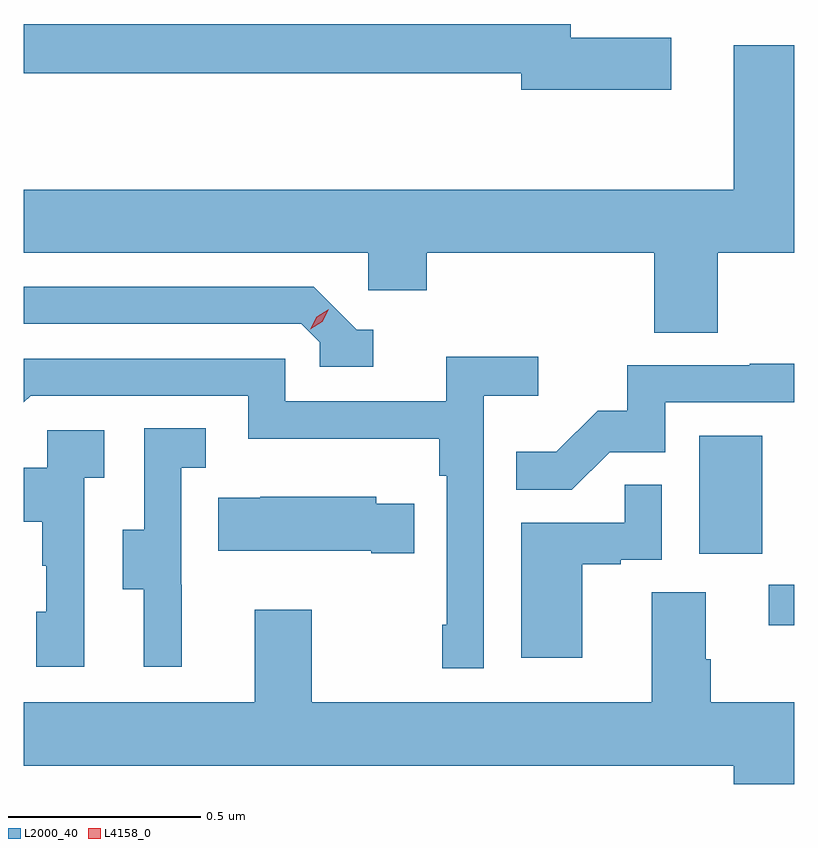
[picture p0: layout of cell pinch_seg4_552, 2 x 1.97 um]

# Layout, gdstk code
import gdstk
lib = gdstk.Library(unit=1e-6, precision=1e-09)
def R(c, l, rs):  # rectangles x0, y0, x1, y1
    for r in rs: c.add(gdstk.rectangle(r[:2], r[2:], *l))
def P(c, l, *ps):  # polygons
    for p in ps: c.add(gdstk.Polygon(p, *l))
L2000_40 = (2000, 40)
L4158_0 = (4158, 0)

pinch_seg4_552 = lib.new_cell('pinch_seg4_552')
R(pinch_seg4_552, L2000_40, [(1142.121,787.86,1142.186,787.965), (1141.94,788.046,1142.104,788.353)])
P(pinch_seg4_552, L2000_40, [(1141.867,789.386),(1141.606,789.386),(1141.606,789.422),(1140.186,789.422),(1140.186,789.294),(1141.478,789.294),(1141.478,789.251),(1141.867,789.251)],
  [(1141.988,788.828),(1142.186,788.828),(1142.186,789.367),(1142.03,789.367),(1142.03,788.992),(1140.186,788.992),(1140.186,788.828),(1141.08,788.828),(1141.08,788.73),(1141.232,788.73),(1141.232,788.828),(1141.823,788.828),(1141.823,788.62),(1141.988,788.62)],
  [(1141.093,788.628),(1141.05,788.628),(1140.939,788.739),(1140.186,788.739),(1140.186,788.643),(1140.906,788.643),(1140.954,788.595),(1140.954,788.532),(1141.093,788.532)],
  [(1141.38,788.456),(1141.522,788.456),(1141.522,788.558),(1141.283,788.558),(1141.283,788.442),(1140.864,788.442),(1140.864,788.553),(1140.186,788.553),(1140.186,788.439),(1140.204,788.457),(1140.768,788.457),(1140.768,788.345),(1141.264,788.345),(1141.264,788.249),(1141.284,788.249),(1141.284,787.861),(1141.272,787.861),(1141.272,787.749),(1141.38,787.749)],
  [(1141.707,788.31),(1141.851,788.31),(1141.851,788.439),(1142.186,788.439),(1142.186,788.54),(1142.071,788.54),(1142.071,788.535),(1141.753,788.535),(1141.753,788.418),(1141.676,788.418),(1141.569,788.311),(1141.465,788.311),(1141.465,788.212),(1141.609,788.212)],
  [(1140.596,787.965),(1140.594,787.965),(1140.594,788.269),(1140.658,788.269),(1140.658,788.372),(1140.498,788.372),(1140.498,788.109),(1140.443,788.109),(1140.443,787.954),(1140.497,787.954),(1140.497,787.752),(1140.596,787.752)],
  [(1140.342,788.243),(1140.394,788.243),(1140.394,788.367),(1140.246,788.367),(1140.246,788.269),(1140.186,788.269),(1140.186,788.129),(1140.234,788.129),(1140.234,788.015),(1140.244,788.015),(1140.244,787.896),(1140.218,787.896),(1140.218,787.752),(1140.342,787.752)],
  [(1141.636,788.019),(1141.736,788.019),(1141.736,788.031),(1141.842,788.031),(1141.842,788.225),(1141.747,788.225),(1141.747,788.127),(1141.478,788.127),(1141.478,787.776),(1141.636,787.776)],
  [(1141.199,788.176),(1141.101,788.176),(1141.101,788.194),(1140.799,788.194),(1140.799,788.191),(1140.691,788.191),(1140.691,788.054),(1141.088,788.054),(1141.088,788.047),(1141.199,788.047)],
  [(1142.186,787.66),(1141.97,787.66),(1141.97,787.772),(1141.957,787.772),(1141.957,787.946),(1141.817,787.946),(1141.817,787.66),(1140.933,787.66),(1140.933,787.9),(1140.785,787.9),(1140.785,787.66),(1140.186,787.66),(1140.186,787.496),(1142.03,787.496),(1142.03,787.448),(1142.186,787.448)])
P(pinch_seg4_552, L4158_0, [(1140.93,788.629),(1140.93,788.629),(1140.946,788.662),(1140.977,788.681),(1140.977,788.681),(1140.977,788.681),(1140.961,788.648),(1140.93,788.629)])

lib.write_gds('pinch_seg4_552.gds')
